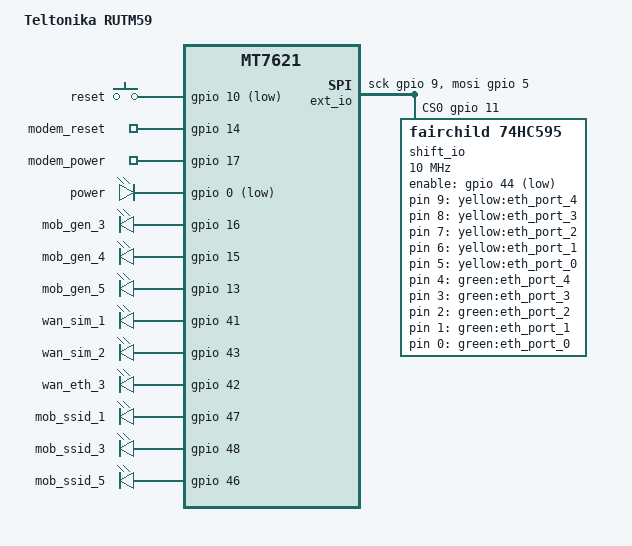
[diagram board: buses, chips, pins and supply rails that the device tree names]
#include "mt7621-teltonika-rutm-common.dtsi"

/ {
	compatible = "teltonika,rutm", "mediatek,mt7621-soc";
	model = "Teltonika RUTM59";

	ext_io {
		compatible = "spi-gpio";
		#address-cells = <1>;
		#size-cells = <0>;

		gpio-sck = <&gpio 9 GPIO_ACTIVE_HIGH>;	// 74HC595 SRCLK (Serial Clock)
		gpio-mosi = <&gpio 5 GPIO_ACTIVE_HIGH>;	// 74HC595 SER (Serial)
		cs-gpios = <&gpio 11 GPIO_ACTIVE_HIGH>;	// 74HC595 RCLK (Register Clock)
		num-chipselects = <1>;

		shift_io: shift_io@0 {
			compatible = "fairchild,74hc595";
			reg = <0>;
			gpio-controller;
			#gpio-cells = <2>;
			registers-number = <2>;
			spi-max-frequency = <10000000>;
			enable-gpios = <&gpio 44 GPIO_ACTIVE_LOW>;

		};
	};

	keys {
		compatible = "gpio-keys";

		reset {
			label = "reset";
			gpios = <&gpio 10 GPIO_ACTIVE_LOW>;
			linux,code = <KEY_RESTART>;
		};
	};

	gpio-export {
		compatible = "gpio-export";
		#size-cells = <0>;

		gpio_modem_reset {
			gpio-export,name = "modem_reset";
			gpio-export,output = <0>;
			gpios = <&gpio 14 GPIO_ACTIVE_HIGH>;
		};

		gpio_modem_power {
			gpio-export,name = "modem_power";
			gpio-export,output = <1>; // tmp
			gpios = <&gpio 17 GPIO_ACTIVE_HIGH>;
		};

		yellow_eth_port_4 {
			gpio-export,name = "yellow:eth_port_4";
			gpio-export,output = <0>;
			gpios = <&shift_io 9 GPIO_ACTIVE_HIGH>;
		};

		yellow_eth_port_3 {
			gpio-export,name = "yellow:eth_port_3";
			gpio-export,output = <0>;
			gpios = <&shift_io 8 GPIO_ACTIVE_HIGH>;
		};

		yellow_eth_port_2 {
			gpio-export,name = "yellow:eth_port_2";
			gpio-export,output = <0>;
			gpios = <&shift_io 7 GPIO_ACTIVE_HIGH>;
		};

		yellow_eth_port_1 {
			gpio-export,name = "yellow:eth_port_1";
			gpio-export,output = <0>;
			gpios = <&shift_io 6 GPIO_ACTIVE_HIGH>;
		};

		yellow_eth_port_0 {
			gpio-export,name = "yellow:eth_port_0";
			gpio-export,output = <0>;
			gpios = <&shift_io 5 GPIO_ACTIVE_HIGH>;
		};

		green_eth_port_4 {
			gpio-export,name = "green:eth_port_4";
			gpio-export,output = <0>;
			gpios = <&shift_io 4 GPIO_ACTIVE_HIGH>;
		};

		green_eth_port_3 {
			gpio-export,name = "green:eth_port_3";
			gpio-export,output = <0>;
			gpios = <&shift_io 3 GPIO_ACTIVE_HIGH>;
		};

		green_eth_port_2 {
			gpio-export,name = "green:eth_port_2";
			gpio-export,output = <0>;
			gpios = <&shift_io 2 GPIO_ACTIVE_HIGH>;
		};

		green_eth_port_1 {
			gpio-export,name = "green:eth_port_1";
			gpio-export,output = <0>;
			gpios = <&shift_io 1 GPIO_ACTIVE_HIGH>;
		};

		green_eth_port_0 {
			gpio-export,name = "green:eth_port_0";
			gpio-export,output = <0>;
			gpios = <&shift_io 0 GPIO_ACTIVE_HIGH>;
		};

	};

	leds {
		compatible = "gpio-leds";

		led_power {
			label = "power";
			gpios = <&gpio 0 GPIO_ACTIVE_LOW>;
			default-state = "on";
			retain-state-shutdown;
		};

		led_gen_3 {
			label = "mob_gen_3";
			gpios = <&gpio 16 GPIO_ACTIVE_HIGH>;
		};

		led_gen_4 {
			label = "mob_gen_4";
			gpios = <&gpio 15 GPIO_ACTIVE_HIGH>;
		};

		led_gen_5 {
			label = "mob_gen_5";
			gpios = <&gpio 13 GPIO_ACTIVE_HIGH>;
		};

		led_wan_sim1 {
			label = "wan_sim_1";
			gpios = <&gpio 41 GPIO_ACTIVE_HIGH>;
		};

		led_wan_sim2 {
			label = "wan_sim_2";
			gpios = <&gpio 43 GPIO_ACTIVE_HIGH>;
		};

		led_wan_eth {
			label = "wan_eth_3";
			gpios = <&gpio 42 GPIO_ACTIVE_HIGH>;
		};

		led_ssid_1 {
			label = "mob_ssid_1";
			gpios = <&gpio 47 GPIO_ACTIVE_HIGH>;
			linux,default-trigger = "timer"; // only
		};

		led_ssid_3 {
			label = "mob_ssid_3";
			gpios = <&gpio 48 GPIO_ACTIVE_HIGH>;
			linux,default-trigger = "timer"; // only
		};

		led_ssid_5 {
			label = "mob_ssid_5";
			gpios = <&gpio 46 GPIO_ACTIVE_HIGH>;
			linux,default-trigger = "timer"; //only
		};
	};

	tlt_gpios { // Modify according to wiki page "DTS syntax with Libgpiod changes"
		gpiochip_info {
			hw_0 {
				hwver = <0>;
				gpiochip_count = <4>;

				gpiochip_0 = <32>; // Built-in
				gpiochip_1 = <32>; // Built-in
				gpiochip_2 = <32>; // Built-in
				gpiochip_3 = <16>; // Shift Register
			};
		};

		ioman {
			GPIO_8 {
				line_name = "GPIO_OUT_1";
			};
			GPIO_12 {
				line_name = "GPIO_IN_1";
				active_low;
			};
		};

		ledman {
			GPIO_0 {
				line_name = "LED_POWER";
				active_low;
			};
			GPIO_96 {
				line_name = "LED_ETH_GREEN_1";
			};
			GPIO_97 {
				line_name = "LED_ETH_GREEN_2";
			};
			GPIO_98 {
				line_name = "LED_ETH_GREEN_3";
			};
			GPIO_99 {
				line_name = "LED_ETH_GREEN_4";
			};
			GPIO_100 {
				line_name = "LED_ETH_GREEN_5";
			};
			GPIO_101 {
				line_name = "LED_ETH_YELLOW_1";
			};
			GPIO_102 {
				line_name = "LED_ETH_YELLOW_2";
			};
			GPIO_103 {
				line_name = "LED_ETH_YELLOW_3";
			};
			GPIO_104 {
				line_name = "LED_ETH_YELLOW_4";
			};
			GPIO_105 {
				line_name = "LED_ETH_YELLOW_5";
			};
			GPIO_41 {
				line_name = "LED_SIM_1";
			};
			GPIO_43 {
				line_name = "LED_SIM_2";
			};
			GPIO_45 {
				line_name = "LED_WAN_ETH";
			};
			GPIO_16 {
				line_name = "LED_TECH_GEN_3";
			};
			GPIO_15 {
				line_name = "LED_TECH_GEN_4";
			};
			GPIO_13 {
				line_name = "LED_TECH_GEN_5";
			};
			GPIO_47 {
				line_name = "LED_SSID_1";
			};
			GPIO_48 {
				line_name = "LED_SSID_3";
			};
			GPIO_46 {
				line_name = "LED_SSID_5";
			};
		};

		misc {
			GPIO_14 {
				line_name = "GPIO_MODEM_RESET_1";
			};
			GPIO_17 {
				line_name = "GPIO_MODEM_POWER_1";
			};
		};
	};
};

&state_default {
	gpio {
		groups = "wdt", "jtag", "sdhci", "uart2", "uart3";
		function = "gpio";
	};
};

&switch0 {
	ports {
		port@0 {
			status = "okay";
			label = "lan1";
		};

		port@1 {
			status = "okay";
			label = "lan2";
		};

		port@2 {
			status = "okay";
			label = "lan3";
		};

		port@3 {
			status = "okay";
			label = "lan4";
		};
	};
};

&mnfinfo {
	sim_cfg {
		default = "1111020_1112020";
	};
};
